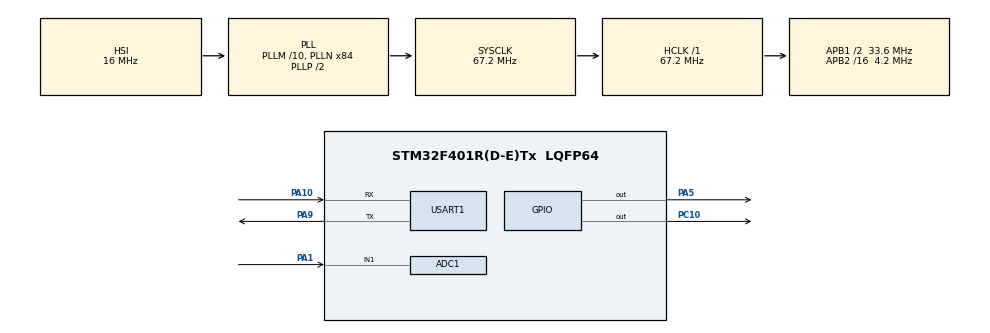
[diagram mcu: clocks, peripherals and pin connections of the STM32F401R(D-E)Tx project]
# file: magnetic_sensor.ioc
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Mcu.Family=STM32F4
RCC.CortexFreq_Value=67200000
ADC1.Rank-0\#ChannelRegularConversion=1
PA10.Mode=Asynchronous
ADC1.ContinuousConvMode=DISABLE
PC10.Signal=GPIO_Output
RCC.APB1CLKDivider=RCC_HCLK_DIV2
RCC.SYSCLKSource=RCC_SYSCLKSOURCE_PLLCLK
ProjectManager.StackSize=0x400
NVIC.ADC_IRQn=true\:1\:0\:true\:false\:true\:true\:true
PA9.Mode=Asynchronous
ProjectManager.TargetToolchain=STM32CubeIDE
RCC.HCLKFreq_Value=67200000
RCC.APB2TimFreq_Value=8400000
PA9.Signal=USART1_TX
RCC.LSE_VALUE=32768
PA1.Signal=ADCx_IN1
RCC.AHBFreq_Value=67200000
PA5.Signal=GPIO_Output
ADC1.Channel-0\#ChannelRegularConversion=ADC_CHANNEL_1
RCC.HSE_VALUE=25000000
board=custom
RCC.VCOOutputFreq_Value=134400000
RCC.APB2Freq_Value=4200000
Mcu.Name=STM32F401R(D-E)Tx
ADC1.SamplingTime-0\#ChannelRegularConversion=ADC_SAMPLETIME_480CYCLES
RCC.48MHZClocksFreq_Value=33600000
RCC.SYSCLKFreq_VALUE=67200000
Mcu.Package=LQFP64
ADC1.master=1
USART1.VirtualMode=VM_ASYNC
STMicroelectronics.X-CUBE-ALGOBUILD.1.2.0.LibraryCcDSPOoLibraryJjDSPOoLibrary=true
PA10.Signal=USART1_RX
ProjectManager.HeapSize=0x200
RCC.HSI_VALUE=16000000
NVIC.PriorityGroup=NVIC_PRIORITYGROUP_4
ADC1.NbrOfConversionFlag=1
RCC.APB2CLKDivider=RCC_HCLK_DIV16
SH.ADCx_IN1.0=ADC1_IN1,IN1
RCC.PLLM=10
RCC.PLLN=84
RCC.APB1TimFreq_Value=67200000
VP_STMicroelectronics.X-CUBE-ALGOBUILD_VS_DSPOoLibraryJjLibrary_1.2.0_1.2.0.Mode=DSPOoLibraryJjLibrary
RCC.APB1Freq_Value=33600000
ADC1.EOCSelection=ADC_EOC_SINGLE_CONV
ADC1.ClockPrescaler=ADC_CLOCK_SYNC_PCLK_DIV6

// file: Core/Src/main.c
/* USER CODE BEGIN Header */
/**
 ******************************************************************************
 * @file           : main.c
 * @brief          : Main program body
 ******************************************************************************
 * @attention
 *
 * <h2><center>&copy; Copyright (c) 2021 STMicroelectronics.
 * All rights reserved.</center></h2>
 *
 * This software component is licensed by ST under BSD 3-Clause license,
 * the "License"; You may not use this file except in compliance with the
 * License. You may obtain a copy of the License at:
 *                        opensource.org/licenses/BSD-3-Clause
 *
 ******************************************************************************
 */
/* ADC sampling frequency 1458.33 Hz */
/* USER CODE END header */
#include "main.h"

/* USER CODE BEGIN Includes */
#define ARM_MATH_CM4
#define FFT_BUFFER_LENGTH (1024)
#define FFT_LENGTH (64)
#define FFT_SLIDING (8)
#define FLOAT_PRECISION (6)
#define CHIRP_LENGTH (64)
#define CORRELATION_THRESHOLD (0.9)
#define FREQ_ONE_BIN (11)
#define FREQ_ZERO_BIN (10)
#define FSK_MESSAGE_BYTE_SIZE (4) //receiving 4 bytes
#define FSK_MESSAGE_BIT_SIZE (FSK_MESSAGE_BYTE_SIZE*8)
//#elements * ( decimal digits + 3 integer digits + 1 dot + 1 sign + 1 space ) + \r\n
#define UART_BUFFER_LENGTH (FFT_LENGTH * (FLOAT_PRECISION + 6)  + 2)
#include "math.h"
#include "arm_math.h"
#include "stdio.h"
/* USER CODE END Includes */

ADC_HandleTypeDef hadc1;

UART_HandleTypeDef huart1;

/* USER CODE BEGIN PV */
float32_t valueBuffer[FFT_BUFFER_LENGTH] =
		{ [0 ... FFT_BUFFER_LENGTH - 1] = 0.0 };
float32_t tempValueBuffer[FFT_LENGTH];
volatile uint16_t valueBufferIndex = 0;
float32_t fftBuffer[FFT_LENGTH] = { [0 ... FFT_LENGTH - 1] = 0.0 };
float32_t magnitudes[FFT_LENGTH / 2];
//TODO: should be changed to a more effective chirp signal (search on a signal processing book?)
const float32_t chirpBuffer[CHIRP_LENGTH] = { 0.1142, 0.0818, 0.0345, -0.0191,
		-0.0692, -0.1067, -0.1247, -0.1199, -0.0931, -0.0494, 0.0034, 0.0555,
		0.0975, 0.1217, 0.1236, 0.1030, 0.0635, 0.0124, -0.0410, -0.0868,
		-0.1168, -0.1255, -0.1112, -0.0766, -0.0280, 0.0258, 0.0748, 0.1101,
		0.1253, 0.1176, 0.0885, 0.0431, -0.0101, -0.0615, -0.1017, -0.1232,
		-0.1222, -0.0989, -0.0575, -0.0056, 0.0473, 0.0916, 0.1192, 0.1249,
		0.1079, 0.0711, 0.0213, -0.0323, -0.0801, -0.1132, -0.1256, -0.1151,
		-0.0835, -0.0367, 0.0169, 0.0673, 0.1055, 0.1244, 0.1205, 0.0946,
		0.0514, -0.0011, -0.0535, -0.0961 };
float32_t receivedChirpBuffer[CHIRP_LENGTH] = { [0 ... CHIRP_LENGTH - 1] = 0.0 };
float32_t receivedTempChirpBuffer[CHIRP_LENGTH] = { [0 ... CHIRP_LENGTH - 1
		] = 0.0 };
float32_t chirpFftBuffer[CHIRP_LENGTH];
float32_t chirpFftMagnitude[CHIRP_LENGTH / 2];
float32_t chirpOffsetValue[CHIRP_LENGTH];
float32_t chirpCorrelation[2 * CHIRP_LENGTH - 1];
volatile float32_t receivedChirpNorm;
volatile float32_t receivedChirpOffset;
arm_rfft_fast_instance_f32 fftInstance, chirpFftInstance;
volatile uint8_t computeFFT = 0;
volatile uint8_t receivingData = 0;
volatile uint16_t receivedBitSize = 0;
volatile uint16_t computeFFTLastIndex = 0;
volatile uint16_t savedComputeFFTLastIndex;
char uartBuffer[UART_BUFFER_LENGTH] = { 0 };
uint8_t receivedData[FSK_MESSAGE_BYTE_SIZE];

/* USER CODE END PV */

void SystemClock_Config(void);
static void MX_GPIO_Init(void);
static void MX_ADC1_Init(void);
static void MX_USART1_UART_Init(void);
/* USER CODE BEGIN PFP */
//convert ADC values and copy into tempValueBuffer
static void convertLastADCValueBatch(void);

/* USER CODE END PFP */

int main(void) {
	/* USER CODE BEGIN 1 */
//	size_t uartStringLen = 0;
	float32_t maxValue;
	int maxValueIndex;

	/* USER CODE END 1 */

	/* MCU Configuration--------------------------------------------------------*/

	/* Reset of all peripherals, Initializes the Flash interface and the Systick. */
	HAL_Init();

	/* Configure the system clock */
	SystemClock_Config();

	/* Initialize all configured peripherals */
	MX_GPIO_Init();
	MX_ADC1_Init();
	MX_USART1_UART_Init();
	/* USER CODE BEGIN 2 */
	HAL_ADC_Start_IT(&hadc1);
//  HAL_ADC_Start_DMA(hadc, pData, Length)
	while (ARM_MATH_SUCCESS != arm_rfft_fast_init_f32(&fftInstance, FFT_LENGTH))
		;
	/* USER CODE END 2 */

	/* Infinite loop */
	while (1) {

		/* USER CODE BEGIN 3 */
		if (computeFFT != 0) {
//			HAL_GPIO_TogglePin(GPIOC, GPIO_PIN_10);

			convertLastADCValueBatch();
			//TODO: note that sensor value conversion is useless, since conversion doesn't affect FFT
			//if we need to compute FFT with values at both ends of array...
			arm_rfft_fast_f32(&fftInstance, tempValueBuffer, fftBuffer, 0);
			arm_cmplx_mag_f32(fftBuffer, magnitudes, FFT_LENGTH / 2);
			maxValue = magnitudes[0];
			maxValueIndex = 0;

			for (int i = 1; i < FFT_LENGTH / 2 - 1; i++) {
				if (magnitudes[i] > maxValue) {
					maxValue = magnitudes[i];
					maxValueIndex = i;
				}
			}

			if(maxValueIndex == FREQ_ONE_BIN)
				receivedData[(receivedBitSize-1)/8] |= 1 << (7 - ((receivedBitSize-1) % 8));
			else
				receivedData[(receivedBitSize-1)/8] &= ~(1 << (7 - ((receivedBitSize-1) % 8)));
//			HAL_GPIO_TogglePin(GPIOC, GPIO_PIN_10);
			computeFFT = 0;
		}
	}
	/* USER CODE END 3 */
}

void SystemClock_Config(void) {
	RCC_OscInitTypeDef RCC_OscInitStruct = { 0 };
	RCC_ClkInitTypeDef RCC_ClkInitStruct = { 0 };

	/** Configure the main internal regulator output voltage
	 */
	__HAL_RCC_PWR_CLK_ENABLE();
	__HAL_PWR_VOLTAGESCALING_CONFIG(PWR_REGULATOR_VOLTAGE_SCALE2);
	/** Initializes the RCC Oscillators according to the specified parameters
	 * in the RCC_OscInitTypeDef structure.
	 */
	RCC_OscInitStruct.OscillatorType = RCC_OSCILLATORTYPE_HSI;
	RCC_OscInitStruct.HSIState = RCC_HSI_ON;
	RCC_OscInitStruct.HSICalibrationValue = RCC_HSICALIBRATION_DEFAULT;
	RCC_OscInitStruct.PLL.PLLState = RCC_PLL_ON;
	RCC_OscInitStruct.PLL.PLLSource = RCC_PLLSOURCE_HSI;
	RCC_OscInitStruct.PLL.PLLM = 10;
	RCC_OscInitStruct.PLL.PLLN = 84;
	RCC_OscInitStruct.PLL.PLLP = RCC_PLLP_DIV2;
	RCC_OscInitStruct.PLL.PLLQ = 4;
	if (HAL_RCC_OscConfig(&RCC_OscInitStruct) != HAL_OK) {
		Error_Handler();
	}
	/** Initializes the CPU, AHB and APB buses clocks
	 */
	RCC_ClkInitStruct.ClockType = RCC_CLOCKTYPE_HCLK | RCC_CLOCKTYPE_SYSCLK
			| RCC_CLOCKTYPE_PCLK1 | RCC_CLOCKTYPE_PCLK2;
	RCC_ClkInitStruct.SYSCLKSource = RCC_SYSCLKSOURCE_PLLCLK;
	RCC_ClkInitStruct.AHBCLKDivider = RCC_SYSCLK_DIV1;
	RCC_ClkInitStruct.APB1CLKDivider = RCC_HCLK_DIV2;
	RCC_ClkInitStruct.APB2CLKDivider = RCC_HCLK_DIV16;

	if (HAL_RCC_ClockConfig(&RCC_ClkInitStruct, FLASH_LATENCY_2) != HAL_OK) {
		Error_Handler();
	}
}

static void MX_ADC1_Init(void) {

	ADC_ChannelConfTypeDef sConfig = { 0 };

	/** Configure the global features of the ADC (Clock, Resolution, Data Alignment and number of conversion)
	 */
	hadc1.Instance = ADC1;
	hadc1.Init.ClockPrescaler = ADC_CLOCK_SYNC_PCLK_DIV6;
	hadc1.Init.Resolution = ADC_RESOLUTION_12B;
	hadc1.Init.ScanConvMode = DISABLE;
	hadc1.Init.ContinuousConvMode = DISABLE;
	hadc1.Init.DiscontinuousConvMode = DISABLE;
	hadc1.Init.ExternalTrigConvEdge = ADC_EXTERNALTRIGCONVEDGE_NONE;
	hadc1.Init.ExternalTrigConv = ADC_SOFTWARE_START;
	hadc1.Init.DataAlign = ADC_DATAALIGN_RIGHT;
	hadc1.Init.NbrOfConversion = 1;
	hadc1.Init.DMAContinuousRequests = DISABLE;
	hadc1.Init.EOCSelection = ADC_EOC_SINGLE_CONV;
	if (HAL_ADC_Init(&hadc1) != HAL_OK) {
		Error_Handler();
	}
	/** Configure for the selected ADC regular channel its corresponding rank in the sequencer and its sample time.
	 */
	sConfig.Channel = ADC_CHANNEL_1;
	sConfig.Rank = 1;
	sConfig.SamplingTime = ADC_SAMPLETIME_480CYCLES;
	if (HAL_ADC_ConfigChannel(&hadc1, &sConfig) != HAL_OK) {
		Error_Handler();
	}

}

static void MX_USART1_UART_Init(void) {

	huart1.Instance = USART1;
	huart1.Init.BaudRate = 115200;
	huart1.Init.WordLength = UART_WORDLENGTH_8B;
	huart1.Init.StopBits = UART_STOPBITS_1;
	huart1.Init.Parity = UART_PARITY_NONE;
	huart1.Init.Mode = UART_MODE_TX_RX;
	huart1.Init.HwFlowCtl = UART_HWCONTROL_NONE;
	huart1.Init.OverSampling = UART_OVERSAMPLING_16;
	if (HAL_UART_Init(&huart1) != HAL_OK) {
		Error_Handler();
	}

}

static void MX_GPIO_Init(void) {
	GPIO_InitTypeDef GPIO_InitStruct = { 0 };

	/* GPIO Ports Clock Enable */
	__HAL_RCC_GPIOA_CLK_ENABLE();
	__HAL_RCC_GPIOC_CLK_ENABLE();

	/*Configure GPIO pin Output Level */
	HAL_GPIO_WritePin(GPIOA, GPIO_PIN_5, GPIO_PIN_RESET);

	/*Configure GPIO pin Output Level */
	HAL_GPIO_WritePin(GPIOC, GPIO_PIN_10, GPIO_PIN_RESET);

	/*Configure GPIO pin : PA5 */
	GPIO_InitStruct.Pin = GPIO_PIN_5;
	GPIO_InitStruct.Mode = GPIO_MODE_OUTPUT_PP;
	GPIO_InitStruct.Pull = GPIO_NOPULL;
	GPIO_InitStruct.Speed = GPIO_SPEED_FREQ_LOW;
	HAL_GPIO_Init(GPIOA, &GPIO_InitStruct);

	/*Configure GPIO pin : PC10 */
	GPIO_InitStruct.Pin = GPIO_PIN_10;
	GPIO_InitStruct.Mode = GPIO_MODE_OUTPUT_PP;
	GPIO_InitStruct.Pull = GPIO_NOPULL;
	GPIO_InitStruct.Speed = GPIO_SPEED_FREQ_LOW;
	HAL_GPIO_Init(GPIOC, &GPIO_InitStruct);

}

/* USER CODE BEGIN 4 */
void HAL_ADC_ConvCpltCallback(ADC_HandleTypeDef *hadc) {
	//if receiving samples for data
	if (receivingData) {
		valueBuffer[valueBufferIndex] = HAL_ADC_GetValue(&hadc1);
		valueBufferIndex = (valueBufferIndex + 1) % FFT_BUFFER_LENGTH;
		//TODO: this check shouldn't be required, since fft computation should be much faster than ADC ...
		if (computeFFT == 0) {
			if (valueBufferIndex % FFT_LENGTH == 0) {
				computeFFTLastIndex = valueBufferIndex;
				computeFFT = 1;
				receivedBitSize++;
			}
		}
		if (receivedBitSize == FSK_MESSAGE_BIT_SIZE)
			receivingData = 0;

	} else {
		//trying to receive chirp
		receivedChirpOffset = 0.0;
		//inserting new ADC value in last (chirp length) buffer position
		//after sliding previous values
		for (int i = 0; i < CHIRP_LENGTH - 1; i++) {
			receivedChirpBuffer[i] = receivedChirpBuffer[i + 1];
			receivedChirpOffset += receivedChirpBuffer[i];
		}
		receivedChirpBuffer[CHIRP_LENGTH - 1] = HAL_ADC_GetValue(&hadc1);
		receivedChirpOffset += receivedChirpBuffer[CHIRP_LENGTH - 1];
		receivedChirpOffset = receivedChirpOffset / CHIRP_LENGTH;
		for (int i = 0; i < CHIRP_LENGTH; i++) {
			chirpOffsetValue[i] = receivedChirpOffset;
		}
		memcpy(receivedTempChirpBuffer, receivedChirpBuffer, CHIRP_LENGTH);
		//remove offset
		arm_sub_f32(receivedTempChirpBuffer, chirpOffsetValue,
				receivedTempChirpBuffer, CHIRP_LENGTH);
		//normalize and correlate
		receivedChirpNorm = 0.0;
		for (int i = 0; i < CHIRP_LENGTH; i++) {
			receivedChirpNorm = receivedChirpNorm
					+ receivedTempChirpBuffer[i] * receivedTempChirpBuffer[i];
		}
		receivedChirpNorm = sqrt(receivedChirpNorm);
		for (int i = 0; i < CHIRP_LENGTH; i++) {
			receivedTempChirpBuffer[i] = receivedTempChirpBuffer[i]
					/ receivedChirpNorm;
		}
		//detect chirp by correlation
		arm_correlate_f32(receivedTempChirpBuffer, CHIRP_LENGTH, chirpBuffer,
		CHIRP_LENGTH, chirpCorrelation);
		//TODO: evaluate correlation threshold!
		if (chirpCorrelation[CHIRP_LENGTH - 1] > CORRELATION_THRESHOLD) {
			receivedBitSize = 0;
			receivingData = 1;
		}

	}
	/*If continuousconversion mode is DISABLED uncomment below*/
	HAL_ADC_Start_IT(&hadc1);
}

static void convertLastADCValueBatch() {
	if (computeFFTLastIndex < FFT_LENGTH) {
		for (int i = computeFFTLastIndex - FFT_LENGTH + FFT_BUFFER_LENGTH,
				j = 0; i < FFT_BUFFER_LENGTH; i++, j++) {
			//ADC value mapping
			valueBuffer[i] *= (3300.0 / 4500.0);
			//sensor conversion
			valueBuffer[i] = valueBuffer[i] - 1680;
			valueBuffer[i] = valueBuffer[i] / (4 * 12.2 * 100);
			tempValueBuffer[j] = valueBuffer[i];
		}

		for (int i = 0, j = FFT_LENGTH - computeFFTLastIndex;
				i < computeFFTLastIndex; i++, j++) {
			valueBuffer[i] *= (3300.0 / 4500.0);
			//sensor conversion
			valueBuffer[i] = valueBuffer[i] - 1680;
			valueBuffer[i] = valueBuffer[i] / (4 * 12.2 * 100);
			tempValueBuffer[j] = valueBuffer[i];

		}
	} else {
		for (int i = 0; i < FFT_LENGTH; i++) {
			valueBuffer[i + computeFFTLastIndex - FFT_LENGTH] *= (3300.0
					/ 4500.0);
			//sensor conversion
			valueBuffer[i + computeFFTLastIndex - FFT_LENGTH] = valueBuffer[i
					+ computeFFTLastIndex - FFT_LENGTH] - 1680;
			valueBuffer[i + computeFFTLastIndex - FFT_LENGTH] = valueBuffer[i
					+ computeFFTLastIndex - FFT_LENGTH] / (4 * 12.2 * 100);

			tempValueBuffer[i] = valueBuffer[i + computeFFTLastIndex
					- FFT_LENGTH];
		}
	}
}

/* USER CODE END 4 */

void Error_Handler(void) {
	__disable_irq();
	while (1) {
	}
}

/************************ (C) COPYRIGHT STMicroelectronics *****END OF FILE****/
